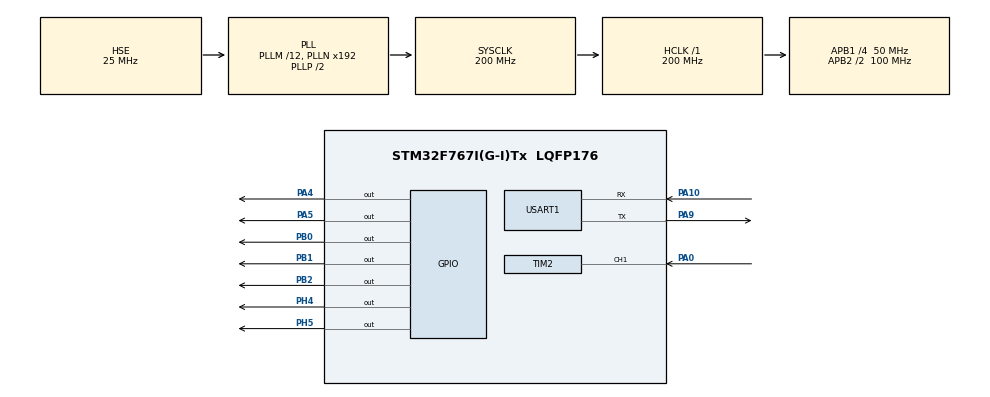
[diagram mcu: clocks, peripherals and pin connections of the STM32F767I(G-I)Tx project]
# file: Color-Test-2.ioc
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Mcu.Family=STM32F7
Mcu.Name=STM32F767I(G-I)Tx
Mcu.Package=LQFP176
NVIC.PriorityGroup=NVIC_PRIORITYGROUP_4
NVIC.TIM1_UP_TIM10_IRQn=true\:0\:0\:false\:false\:true\:true\:true
PA0/WKUP.Signal=S_TIM2_CH1_ETR
PA10.Mode=Asynchronous
PA10.Signal=USART1_RX
PA13.Mode=Serial_Wire
PA13.Signal=SYS_JTMS-SWDIO
PA14.Mode=Serial_Wire
PA14.Signal=SYS_JTCK-SWCLK
PA4.Signal=GPIO_Output
PA5.Signal=GPIO_Output
PA9.Mode=Asynchronous
PA9.Signal=USART1_TX
PB0.Signal=GPIO_Output
PB1.Signal=GPIO_Output
PB2.Signal=GPIO_Output
PH0/OSC_IN.Mode=HSE-External-Oscillator
PH0/OSC_IN.Signal=RCC_OSC_IN
PH1/OSC_OUT.Mode=HSE-External-Oscillator
PH1/OSC_OUT.Signal=RCC_OSC_OUT
PH4.Signal=GPIO_Output
PH5.Signal=GPIO_Output
ProjectManager.HeapSize=0x200
ProjectManager.StackSize=0x400
ProjectManager.TargetToolchain=MDK-ARM V5
RCC.AHBFreq_Value=200000000
RCC.APB1CLKDivider=RCC_HCLK_DIV4
RCC.APB1Freq_Value=50000000
RCC.APB1TimFreq_Value=100000000
RCC.APB2CLKDivider=RCC_HCLK_DIV2
RCC.APB2Freq_Value=100000000
RCC.APB2TimFreq_Value=200000000
RCC.CortexFreq_Value=200000000
RCC.HCLKFreq_Value=200000000
RCC.HSE_VALUE=25000000
RCC.HSI_VALUE=16000000
RCC.LSE_VALUE=32768
RCC.PLLM=12
RCC.PLLSourceVirtual=RCC_PLLSOURCE_HSE
RCC.SYSCLKFreq_VALUE=200000000
RCC.SYSCLKSource=RCC_SYSCLKSOURCE_PLLCLK
RCC.USBFreq_Value=200000000
RCC.VCOOutputFreq_Value=400000000
SH.S_TIM2_CH1_ETR.0=TIM2_CH1,TriggerSource_TI1FP1
TIM1.Period=50000
TIM1.Prescaler=999
TIM2.Period=0xffffffff
TIM2.Prescaler=0
USART1.VirtualMode-Asynchronous=VM_ASYNC
VP_TIM1_VS_ClockSourceINT.Mode=Internal
VP_TIM2_VS_ControllerModeClock.Mode=Clock Mode
board=custom

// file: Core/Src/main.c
/* USER CODE BEGIN Header */
/**
  ******************************************************************************
  * @file           : main.c
  * @brief          : Main program body
  ******************************************************************************
  * @attention
  *
  * <h2><center>&copy; Copyright (c) 2021 STMicroelectronics.
  * All rights reserved.</center></h2>
  *
  * This software component is licensed by ST under BSD 3-Clause license,
  * the "License"; You may not use this file except in compliance with the
  * License. You may obtain a copy of the License at:
  *                        opensource.org/licenses/BSD-3-Clause
  *
  ******************************************************************************
  */
/* USER CODE END Header */
#include "main.h"
#include "tim.h"
#include "usart.h"
#include "gpio.h"

/* USER CODE BEGIN Includes */
#include "stdio.h"
/* USER CODE END Includes */

void SystemClock_Config(void);

/* USER CODE BEGIN 0 */

extern int flag;
extern int count;
extern int cnt[3];
float RGB_Scale[3];		//储存3个RGB比例因子

/* USER CODE END 0 */

int main(void)
{

  /* MCU Configuration--------------------------------------------------------*/

  /* Reset of all peripherals, Initializes the Flash interface and the Systick. */
  HAL_Init();

  /* Configure the system clock */
  SystemClock_Config();

  /* Initialize all configured peripherals */
  MX_GPIO_Init();
  MX_TIM1_Init();
  MX_TIM2_Init();
  MX_USART1_UART_Init();
  /* USER CODE BEGIN 2 */

	HAL_TIM_Base_Start_IT(&htim1);	//使能定时器1
	HAL_TIM_Base_Start(&htim2);	//使能定时器2

	//选择2%的输出比例因子
	S0_L;
	S1_H;

	LED_ON;		//打开四个白色LED，进行白平衡
	HAL_Delay(3000);		//延时三秒，等待识别

	//通过白平衡测试，计算得到白色物的RGB值255与0.5秒内三色光脉冲数的RGB比例因子
	for(int i=0;i<3;i++)
	{
		RGB_Scale[i] = 255.0/cnt[i];
		printf("%5lf  \r\n", RGB_Scale[i]);
	}
	//红绿蓝三色光分别对应的0.5s内TCS3200输出脉冲数，乘以相应的比例因子就是我们所谓的RGB标准值
	//打印被测物体的RGB值

	for(int i=0; i<3; i++)
	{
		printf("%d \r\n", (int) (cnt[i]*RGB_Scale[i]));
	}
	printf("White Balance Done!\r\n");
	//白平衡结束

  /* USER CODE END 2 */

  /* Infinite loop */
  while (1)
  {
		flag = 0;
		count = 0;
//		printf("while loop is running!\r\n");
		HAL_Delay(3000);
		HAL_GPIO_TogglePin(GPIOB,GPIO_PIN_1);

		for(int i=0; i<3; i++)
		{
			if(i==0)
				printf("RGB = (");
			if(i==2)
				printf("%d)\r\n",(int) (cnt[i]*RGB_Scale[i]));
			else
				printf("%d, ", (int) (cnt[i]*RGB_Scale[i]));
		}

  }
}

void SystemClock_Config(void)
{
  RCC_OscInitTypeDef RCC_OscInitStruct = {0};
  RCC_ClkInitTypeDef RCC_ClkInitStruct = {0};
  RCC_PeriphCLKInitTypeDef PeriphClkInitStruct = {0};

  /** Configure the main internal regulator output voltage
  */
  __HAL_RCC_PWR_CLK_ENABLE();
  __HAL_PWR_VOLTAGESCALING_CONFIG(PWR_REGULATOR_VOLTAGE_SCALE1);
  /** Initializes the RCC Oscillators according to the specified parameters
  * in the RCC_OscInitTypeDef structure.
  */
  RCC_OscInitStruct.OscillatorType = RCC_OSCILLATORTYPE_HSE;
  RCC_OscInitStruct.HSEState = RCC_HSE_ON;
  RCC_OscInitStruct.PLL.PLLState = RCC_PLL_ON;
  RCC_OscInitStruct.PLL.PLLSource = RCC_PLLSOURCE_HSE;
  RCC_OscInitStruct.PLL.PLLM = 12;
  RCC_OscInitStruct.PLL.PLLN = 192;
  RCC_OscInitStruct.PLL.PLLP = RCC_PLLP_DIV2;
  RCC_OscInitStruct.PLL.PLLQ = 2;
  if (HAL_RCC_OscConfig(&RCC_OscInitStruct) != HAL_OK)
  {
    Error_Handler();
  }
  /** Activate the Over-Drive mode
  */
  if (HAL_PWREx_EnableOverDrive() != HAL_OK)
  {
    Error_Handler();
  }
  /** Initializes the CPU, AHB and APB buses clocks
  */
  RCC_ClkInitStruct.ClockType = RCC_CLOCKTYPE_HCLK|RCC_CLOCKTYPE_SYSCLK
                              |RCC_CLOCKTYPE_PCLK1|RCC_CLOCKTYPE_PCLK2;
  RCC_ClkInitStruct.SYSCLKSource = RCC_SYSCLKSOURCE_PLLCLK;
  RCC_ClkInitStruct.AHBCLKDivider = RCC_SYSCLK_DIV1;
  RCC_ClkInitStruct.APB1CLKDivider = RCC_HCLK_DIV4;
  RCC_ClkInitStruct.APB2CLKDivider = RCC_HCLK_DIV2;

  if (HAL_RCC_ClockConfig(&RCC_ClkInitStruct, FLASH_LATENCY_6) != HAL_OK)
  {
    Error_Handler();
  }
  PeriphClkInitStruct.PeriphClockSelection = RCC_PERIPHCLK_USART1;
  PeriphClkInitStruct.Usart1ClockSelection = RCC_USART1CLKSOURCE_PCLK2;
  if (HAL_RCCEx_PeriphCLKConfig(&PeriphClkInitStruct) != HAL_OK)
  {
    Error_Handler();
  }
}

void Error_Handler(void)
{
}

/************************ (C) COPYRIGHT STMicroelectronics *****END OF FILE****/
